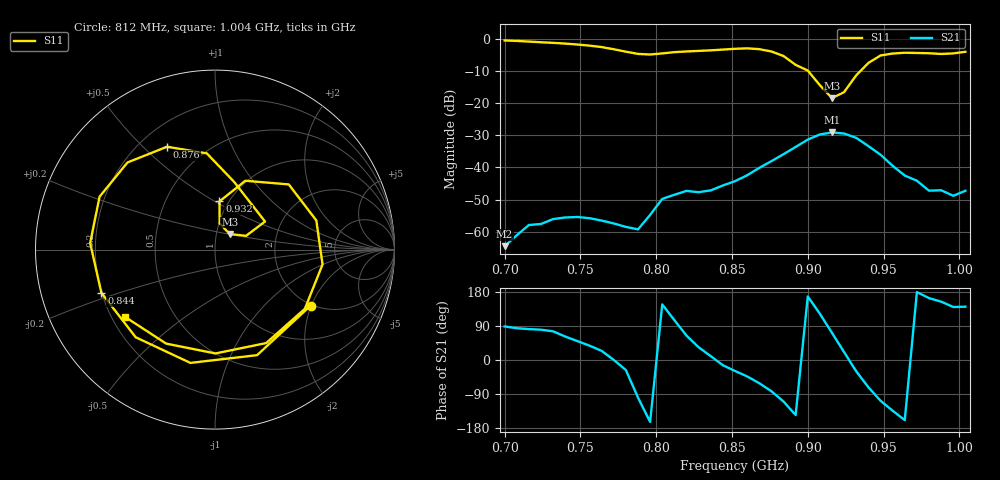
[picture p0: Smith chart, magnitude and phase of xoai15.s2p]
# Hz S RI R 50
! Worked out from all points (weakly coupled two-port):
!   39 points, 700 MHz to 1.004 GHz, reference 50 ohm
!   highest |S21| = -29.13 dB at 916 MHz (marker M1); lowest = -64.5 dB at 700 MHz (marker M2)
!   lowest |S11| = -18.5 dB at 916 MHz (marker M3), VSWR 1.27, Z = 58 + j10.2 ohm
!   |S11| at or under -10 dB: 900.2 MHz to 934.9 MHz (34.72 MHz wide, 3.78 % of centre)
!   S12 and S22 are empty: the file has one direction only
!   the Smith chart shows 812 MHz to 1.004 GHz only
!   S11 on the Smith chart (normalised r, x): 812 MHz: 1.96, -1.98; 844 MHz: 0.20, -0.18; 876 MHz: 0.31, +0.59; 932 MHz: 0.91, +0.53; 1.004 GHz: 0.25, -0.31
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7e8  0.7606 0.5498  1.52e-05 0.000597  0 0  0 0
7.24e8  0.8452 -0.2454  0.000229 0.0013  0 0  0 0
7.4e8  0.4545 -0.705  0.000787 0.00147  0 0  0 0
7.56e8  -0.1967 -0.7549  0.00128 0.000997  0 0  0 0
7.72e8  -0.6587 -0.1872  0.00135 5.13e-06  0 0  0 0
7.8e8  -0.5809 0.2388  0.00106 -0.000531  0 0  0 0
7.88e8  -0.2223 0.5359  -0.000175 -0.00107  0 0  0 0
7.96e8  0.2636 0.5029  -0.00175 -0.000522  0 0  0 0
8.04e8  0.5736 0.1386  -0.00271 0.00178  0 0  0 0
8.12e8  0.5331 -0.3119  -0.000984 0.00362  0 0  0 0
8.28e8  -0.1372 -0.6313  0.00343 0.00228  0 0  0 0
8.44e8  -0.633 -0.2407  0.00509 -0.00125  0 0  0 0
8.52e8  -0.6956 0.0368  0.00534 -0.00297  0 0  0 0
8.76e8  -0.2671 0.5731  0.00164 -0.0124  0 0  0 0
9e8  0.2789 0.1563  -0.0264 0.00567  0 0  0 0
9.08e8  0.1731 0.0766  -0.0171 0.0276  0 0  0 0
9.16e8  0.0819 0.0866  0.011 0.0332  0 0  0 0
9.32e8  0.0251 0.2686  0.0249 -0.0144  0 0  0 0
9.48e8  0.411 0.3632  -0.00472 -0.015  0 0  0 0
9.56e8  0.5645 0.1625  -0.00732 -0.00763  0 0  0 0
9.8e8  0.2852 -0.5207  -0.00417 0.00125  0 0  0 0
1.004e9  -0.4998 -0.3758  -0.00335 0.00274  0 0  0 0
